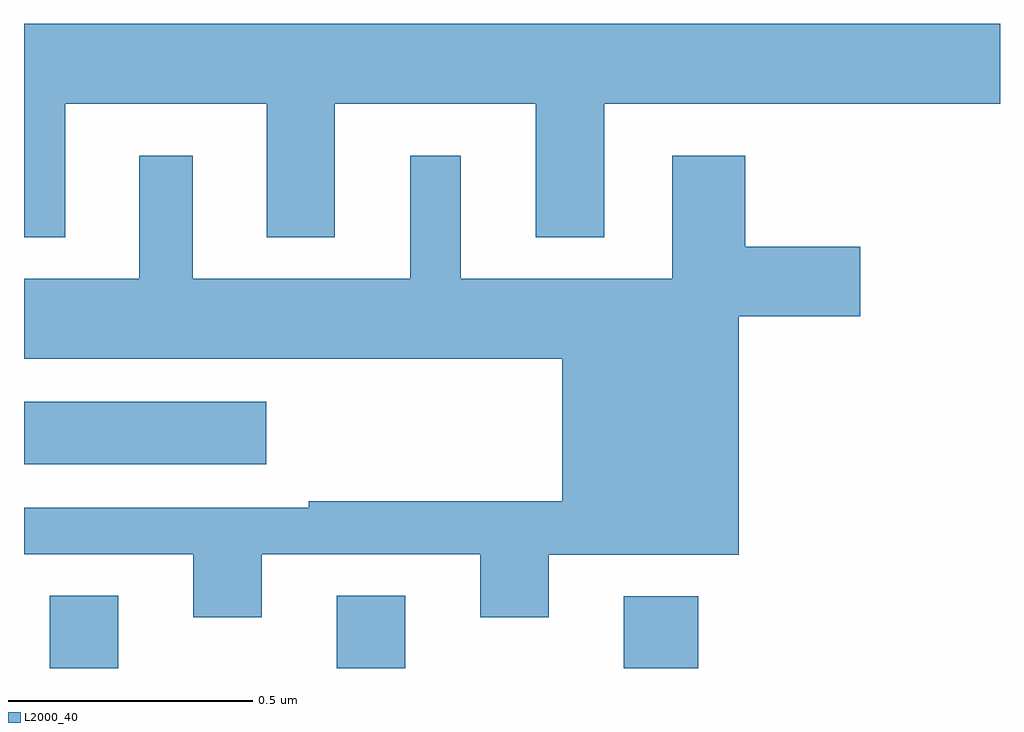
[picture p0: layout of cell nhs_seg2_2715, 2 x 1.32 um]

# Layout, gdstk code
import gdstk
lib = gdstk.Library(unit=1e-6, precision=1e-09)
def R(c, l, rs):  # rectangles x0, y0, x1, y1
    for r in rs: c.add(gdstk.rectangle(r[:2], r[2:], *l))
def P(c, l, *ps):  # polygons
    for p in ps: c.add(gdstk.Polygon(p, *l))
L2000_40 = (2000, 40)

nhs_seg2_2715 = lib.new_cell('nhs_seg2_2715')
R(nhs_seg2_2715, L2000_40, [(144.053,659.8,144.193,659.948), (144.641,659.8,144.781,659.948), (145.229,659.8,145.382,659.947), (144,660.218,144.496,660.346)])
P(nhs_seg2_2715, L2000_40, [(144.085,660.956),(144.497,660.956),(144.497,660.683),(144.637,660.683),(144.637,660.956),(145.049,660.956),(145.049,660.683),(145.189,660.683),(145.189,660.956),(146,660.956),(146,661.12),(144,661.12),(144,660.683),(144.085,660.683)],
  [(144.487,660.033),(144.935,660.033),(144.935,659.904),(145.075,659.904),(145.075,660.032),(145.465,660.032),(145.465,660.521),(145.714,660.521),(145.714,660.663),(145.478,660.663),(145.478,660.85),(145.328,660.85),(145.328,660.598),(144.895,660.598),(144.895,660.85),(144.791,660.85),(144.791,660.598),(144.346,660.598),(144.346,660.85),(144.236,660.85),(144.236,660.598),(144,660.598),(144,660.434),(145.103,660.434),(145.103,660.142),(144.583,660.142),(144.583,660.129),(144,660.129),(144,660.033),(144.347,660.033),(144.347,659.904),(144.487,659.904)])

lib.write_gds('nhs_seg2_2715.gds')
